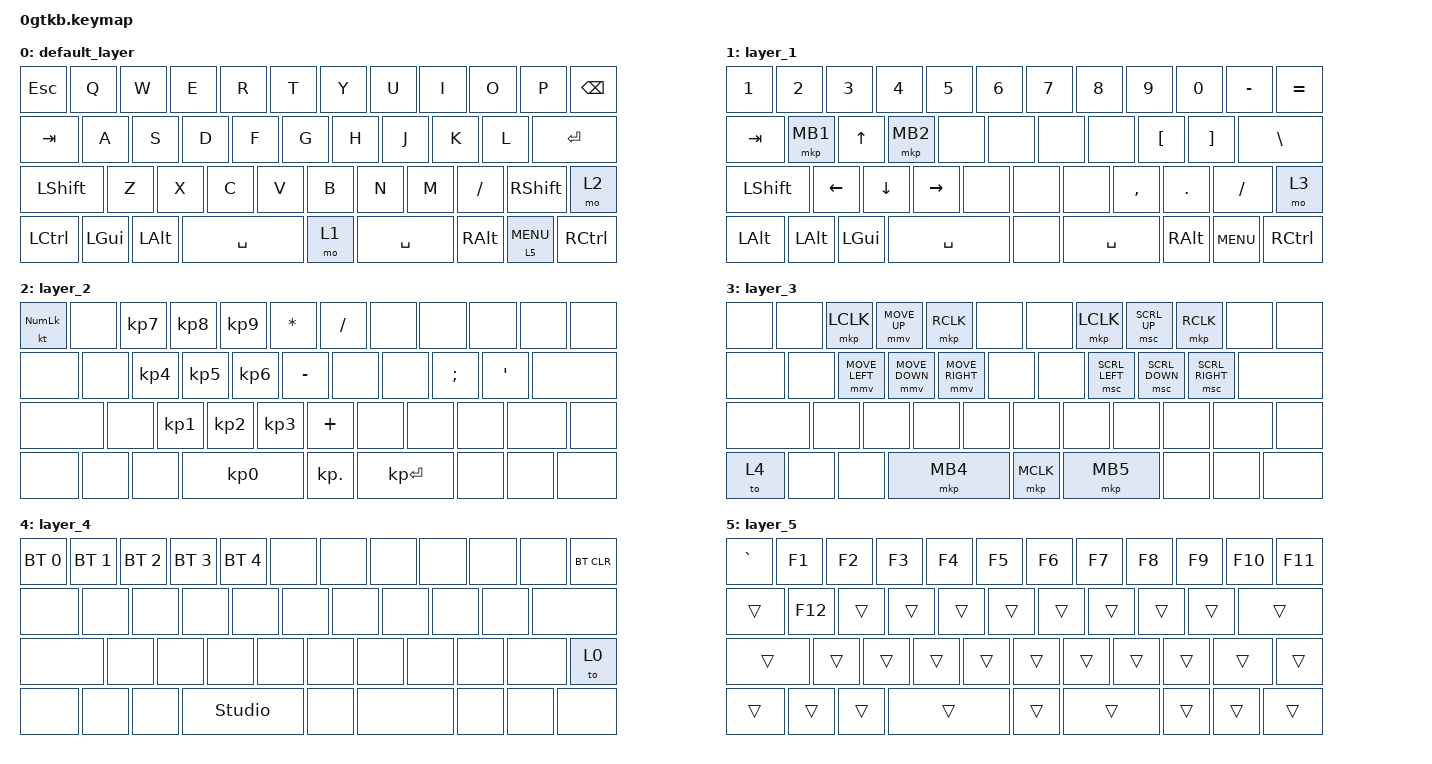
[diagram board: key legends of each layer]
#include <behaviors.dtsi>
#include <dt-bindings/zmk/bt.h>
#include <dt-bindings/zmk/keys.h>
#include <dt-bindings/zmk/pointing.h>

#define ZMK_POINTING_DEFAULT_MOVE_VAL 600
#define ZMK_POINTING_DEFAULT_SCRL_VAL 10

/ {
    keymap {
        compatible = "zmk,keymap";

        default_layer {
            bindings = <
&kp ESC    &kp Q     &kp W     &kp E      &kp R  &kp T  &kp Y      &kp U  &kp I          &kp O         &kp P      &kp BSPC
&kp TAB    &kp A     &kp S     &kp D      &kp F  &kp G  &kp H      &kp J  &kp K          &kp L         &kp ENTER
&kp LSHFT  &kp Z     &kp X     &kp C      &kp V  &kp B  &kp N      &kp M  &kp SLASH      &kp RSHFT     &mo 2
&kp LCTRL  &kp LGUI  &kp LALT  &kp SPACE         &mo 1  &kp SPACE         &kp RIGHT_ALT  &lt 5 K_MENU  &kp RCTRL
            >;
        };

        layer_1 {
            bindings = <
&kp N1     &kp N2          &kp N3          &kp N4           &kp N5  &kp N6  &kp N7     &kp N8     &kp N9    &kp N0      &kp MINUS  &kp EQUAL
&kp TAB    &mkp MB1        &kp UP_ARROW    &mkp MB2         &none   &none   &none      &none      &kp LBKT  &kp RBKT    &kp BSLH
&kp LSHFT  &kp LEFT_ARROW  &kp DOWN_ARROW  &kp RIGHT_ARROW  &none   &none   &none      &kp COMMA  &kp DOT   &kp FSLH    &mo 3
&kp LALT   &kp LALT        &kp LGUI        &kp SPACE                &none   &kp SPACE             &kp RALT  &kp C_MENU  &kp RCTRL
            >;
        };

        layer_2 {
            bindings = <
&kt KP_NUMLOCK  &none  &kp KP_NUMBER_7  &kp KP_NUMBER_8  &kp KP_NUMBER_9  &kp STAR    &kp SLASH     &none  &none          &none    &none  &none
&none           &none  &kp KP_NUMBER_4  &kp KP_NUMBER_5  &kp KP_NUMBER_6  &kp MINUS   &none         &none  &kp SEMICOLON  &kp SQT  &none
&none           &none  &kp KP_NUMBER_1  &kp KP_NUMBER_2  &kp KP_NUMBER_3  &kp PLUS    &none         &none  &none          &none    &none
&none           &none  &none            &kp KP_NUMBER_0                   &kp KP_DOT  &kp KP_ENTER         &none          &none    &none
            >;
        };

        layer_3 {
            bindings = <
&none  &none  &mkp LCLK       &mmv MOVE_UP    &mkp RCLK        &none      &none     &mkp LCLK       &msc SCRL_UP    &mkp RCLK        &none  &none
&none  &none  &mmv MOVE_LEFT  &mmv MOVE_DOWN  &mmv MOVE_RIGHT  &none      &none     &msc SCRL_LEFT  &msc SCRL_DOWN  &msc SCRL_RIGHT  &none
&none  &none  &none           &none           &none            &none      &none     &none           &none           &none            &none
&to 4  &none  &none           &mkp MB4                         &mkp MCLK  &mkp MB5                  &none           &none            &none
            >;
        };

        layer_4 {
            bindings = <
&bt BT_SEL 0  &bt BT_SEL 1  &bt BT_SEL 2  &bt BT_SEL 3    &bt BT_SEL 4  &none  &none  &none  &none  &none  &none  &bt BT_CLR
&none         &none         &none         &none           &none         &none  &none  &none  &none  &none  &none
&none         &none         &none         &none           &none         &none  &none  &none  &none  &none  &to 0
&none         &none         &none         &studio_unlock                &none  &none         &none  &none  &none
            >;
        };

        layer_5 {
            bindings = <
&kp GRAVE  &kp F1   &kp F2  &kp F3  &kp F4  &kp F5  &kp F6  &kp F7  &kp F8  &kp F9  &kp F10  &kp F11
&trans     &kp F12  &trans  &trans  &trans  &trans  &trans  &trans  &trans  &trans  &trans
&trans     &trans   &trans  &trans  &trans  &trans  &trans  &trans  &trans  &trans  &trans
&trans     &trans   &trans  &trans          &trans  &trans          &trans  &trans  &trans
            >;
        };
    };
};
